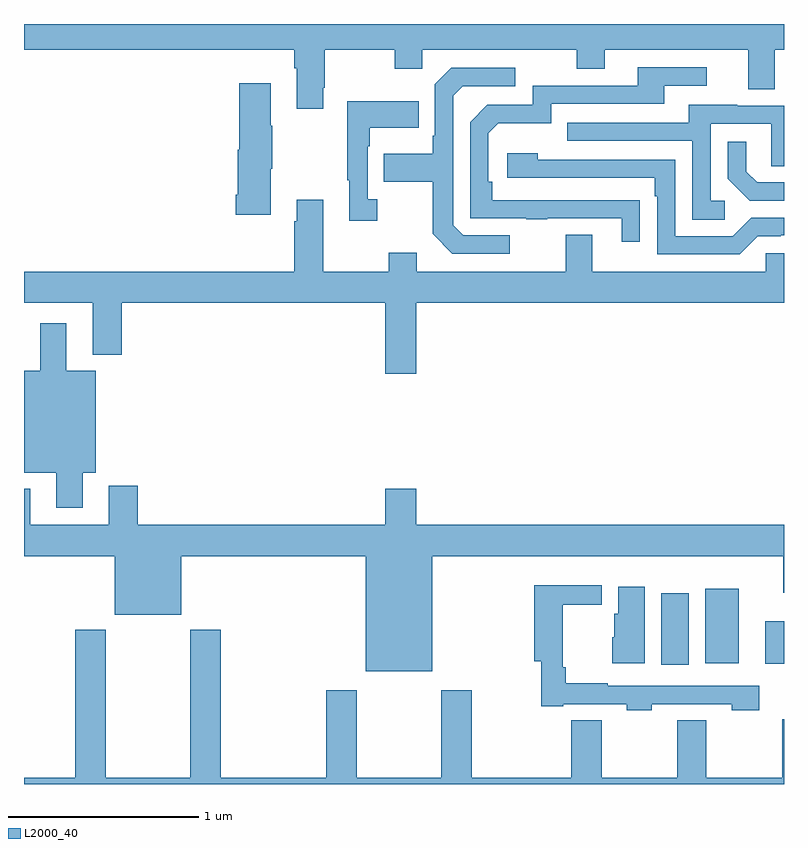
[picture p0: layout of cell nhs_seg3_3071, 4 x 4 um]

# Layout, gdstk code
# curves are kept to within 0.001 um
import gdstk
lib = gdstk.Library(unit=1e-6, precision=1e-09)
def R(c, l, rs):  # rectangles x0, y0, x1, y1
    for r in rs: c.add(gdstk.rectangle(r[:2], r[2:], *l))
def P(c, l, *ps):  # polygons
    for p in ps: c.add(gdstk.Polygon(p, *l))
L2000_40 = (2000, 40)

nhs_seg3_3071 = lib.new_cell('nhs_seg3_3071')
R(nhs_seg3_3071, L2000_40, [(274.355,683.028,274.498,683.404), (274.901,683.033,275,683.257), (274.586,683.036,274.762,683.428)])
P(nhs_seg3_3071, L2000_40, [(272.575,686.065),(272.583,686.065),(272.583,686.264),(272.95,686.264),(272.95,686.165),(273.096,686.165),(273.096,686.264),(273.91,686.264),(273.91,686.165),(274.057,686.165),(274.057,686.264),(274.811,686.264),(274.811,686.056),(274.951,686.056),(274.951,686.264),(275,686.264),(275,686.4),(271,686.4),(271,686.264),(272.423,686.264),(272.423,686.168),(272.435,686.168),(272.435,685.953),(272.575,685.953)],
  [(274.241,685.472),(273.464,685.473),(273.464,685.57),(273.444,685.57),(273.444,685.824),(273.497,685.877),(273.774,685.877),(273.774,685.98),(274.369,685.98),(274.369,686.076),(274.594,686.076),(274.594,686.172),(274.229,686.172),(274.229,686.076),(273.678,686.076),(273.678,685.974),(273.438,685.974),(273.348,685.884),(273.348,685.377),(273.643,685.377),(273.643,685.372),(273.755,685.372),(273.755,685.377),(274.145,685.377),(274.145,685.254),(274.241,685.254)],
  [(273.556,685.287),(273.312,685.287),(273.258,685.341),(273.258,686.022),(273.309,686.073),(273.586,686.073),(273.586,686.169),(273.249,686.169),(273.162,686.082),(273.162,685.813),(273.15,685.813),(273.15,685.717),(272.893,685.717),(272.893,685.57),(273.15,685.57),(273.15,685.297),(273.255,685.191),(273.556,685.191)],
  [(272.299,685.637),(272.307,685.637),(272.307,685.865),(272.299,685.865),(272.299,686.089),(272.132,686.089),(272.132,685.737),(272.126,685.737),(272.126,685.501),(272.114,685.501),(272.114,685.397),(272.299,685.397)],
  [(272.86,685.478),(272.808,685.478),(272.808,685.757),(272.821,685.757),(272.821,685.853),(273.077,685.853),(273.077,685.993),(272.7,685.993),(272.7,685.577),(272.711,685.577),(272.711,685.365),(272.86,685.365)],
  [(274.687,685.47),(274.614,685.47),(274.614,685.875),(274.932,685.875),(274.932,685.651),(275,685.651),(275,685.971),(274.753,685.971),(274.753,685.975),(274.499,685.975),(274.499,685.881),(273.859,685.881),(273.859,685.785),(274.518,685.785),(274.518,685.369),(274.687,685.369)],
  [(275,685.566),(274.858,685.566),(274.801,685.623),(274.801,685.78),(274.704,685.78),(274.704,685.586),(274.82,685.47),(275,685.47)],
  [(274.863,685.284),(274.982,685.284),(274.982,685.287),(275,685.287),(275,685.38),(274.827,685.38),(274.731,685.284),(274.428,685.284),(274.428,685.686),(273.704,685.686),(273.704,685.72),(273.543,685.72),(273.543,685.59),(274.319,685.59),(274.319,685.493),(274.332,685.493),(274.332,685.188),(274.767,685.188)],
  [(273.064,684.932),(275,684.932),(275,685.194),(274.905,685.194),(274.905,685.096),(273.991,685.096),(273.991,685.291),(273.851,685.291),(273.851,685.096),(273.067,685.096),(273.067,685.195),(272.92,685.195),(272.92,685.096),(272.575,685.096),(272.575,685.474),(272.435,685.474),(272.435,685.361),(272.423,685.361),(272.423,685.096),(271,685.096),(271,684.932),(271.361,684.932),(271.361,684.659),(271.514,684.659),(271.514,684.932),(272.9,684.932),(272.9,684.558),(273.064,684.558)],
  [(271.309,684.038),(271.378,684.038),(271.378,684.574),(271.222,684.574),(271.222,684.826),(271.085,684.826),(271.085,684.574),(271,684.574),(271,684.038),(271.169,684.038),(271.169,683.853),(271.309,683.853)],
  [(273.148,683.6),(274.997,683.6),(274.997,683.406),(275,683.406),(275,683.764),(273.064,683.764),(273.064,683.953),(272.9,683.953),(272.9,683.764),(271.598,683.764),(271.598,683.971),(271.445,683.971),(271.445,683.764),(271.033,683.764),(271.033,683.953),(271,683.953),(271,683.6),(271.478,683.6),(271.478,683.291),(271.828,683.291),(271.828,683.6),(272.798,683.6),(272.798,682.994),(273.148,682.994)],
  [(274.305,682.821),(274.725,682.821),(274.725,682.789),(274.87,682.789),(274.87,682.917),(274.073,682.917),(274.073,682.93),(273.851,682.93),(273.851,683.014),(273.836,683.014),(273.836,683.344),(274.042,683.344),(274.042,683.446),(273.686,683.446),(273.686,683.045),(273.723,683.045),(273.723,682.809),(273.838,682.809),(273.838,682.821),(274.173,682.821),(274.173,682.789),(274.305,682.789)],
  [(274.267,683.437),(274.127,683.437),(274.127,683.295),(274.106,683.295),(274.106,683.172),(274.097,683.172),(274.097,683.036),(274.267,683.036)],
  [(275,682.741),(274.99,682.741),(274.99,682.432),(274.592,682.432),(274.592,682.736),(274.438,682.736),(274.438,682.432),(274.04,682.432),(274.04,682.736),(273.881,682.736),(273.881,682.432),(273.356,682.432),(273.356,682.894),(273.196,682.894),(273.196,682.432),(272.751,682.432),(272.751,682.894),(272.591,682.894),(272.591,682.432),(272.036,682.432),(272.036,683.212),(271.876,683.212),(271.876,682.432),(271.431,682.432),(271.431,683.212),(271.271,683.212),(271.271,682.432),(271,682.432),(271,682.4),(275,682.4)])

lib.write_gds('nhs_seg3_3071.gds')
